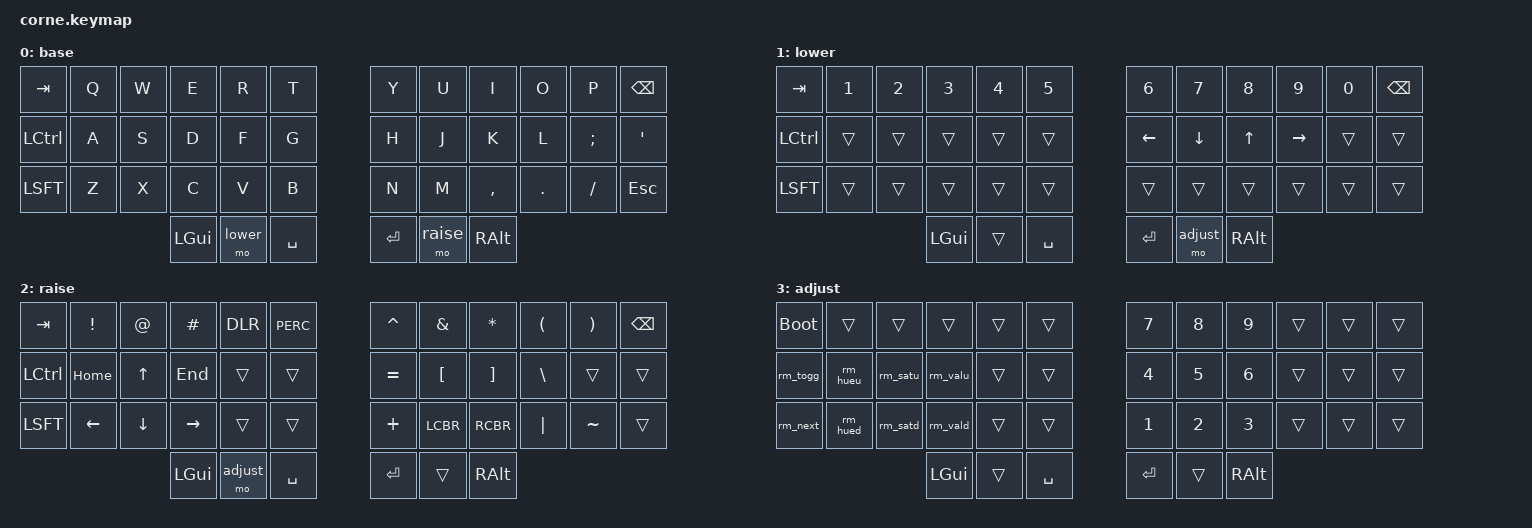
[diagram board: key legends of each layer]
#include <behaviors.dtsi>
#include <dt-bindings/zmk/keys.h>

/ {
    keymap {
        compatible = "zmk,keymap";

        base {
            bindings = <
                &kp TAB   &kp Q &kp W &kp E &kp R &kp T     &kp Y &kp U &kp I &kp O &kp P &kp BSPC
                &kp LCTL  &kp A &kp S &kp D &kp F &kp G     &kp H &kp J &kp K &kp L &kp SCLN &kp QUOT
                &kp LSFT  &kp Z &kp X &kp C &kp V &kp B     &kp N &kp M &kp COMMA &kp DOT &kp SLASH &kp ESC
                &kp LGUI  &mo lower &kp SPACE               &kp ENTER &mo raise &kp RALT
            >;
        };

        lower {
            bindings = <
                &kp TAB   &kp 1 &kp 2 &kp 3 &kp 4 &kp 5     &kp 6 &kp 7 &kp 8 &kp 9 &kp 0 &kp BSPC
                &kp LCTL  &trans &trans &trans &trans &trans &kp LEFT &kp DOWN &kp UP &kp RIGHT &trans &trans
                &kp LSFT  &trans &trans &trans &trans &trans &trans &trans &trans &trans &trans &trans
                &kp LGUI  &trans &kp SPACE                  &kp ENTER &mo adjust &kp RALT
            >;
        };

        raise {
            bindings = <
                &kp TAB   &kp EXCL &kp AT &kp HASH &kp DLR &kp PERC    &kp CARET &kp AMPS &kp ASTRK &kp LPAR &kp RPAR &kp BSPC
                &kp LCTL  &kp HOME &kp UP &kp END &trans &trans        &kp EQUAL &kp LBKT &kp RBKT &kp BSLH &trans &trans
                &kp LSFT  &kp LEFT &kp DOWN &kp RIGHT &trans &trans    &kp PLUS &kp LCBR &kp RCBR &kp PIPE &kp TILDE &trans
                &kp LGUI  &mo adjust &kp SPACE                         &kp ENTER &trans &kp RALT
            >;
        };

        adjust {
            bindings = <
                &bootloader &trans &trans &trans &trans &trans      &kp 7 &kp 8 &kp 9 &trans &trans &trans
                &rm_togg &rm_hueu &rm_satu &rm_valu &trans &trans  &kp 4 &kp 5 &kp 6 &trans &trans &trans
                &rm_next &rm_hued &rm_satd &rm_vald &trans &trans  &kp 1 &kp 2 &kp 3 &trans &trans &trans
                &kp LGUI &trans &kp SPACE                           &kp ENTER &trans &kp RALT
            >;
        };
    };
};
